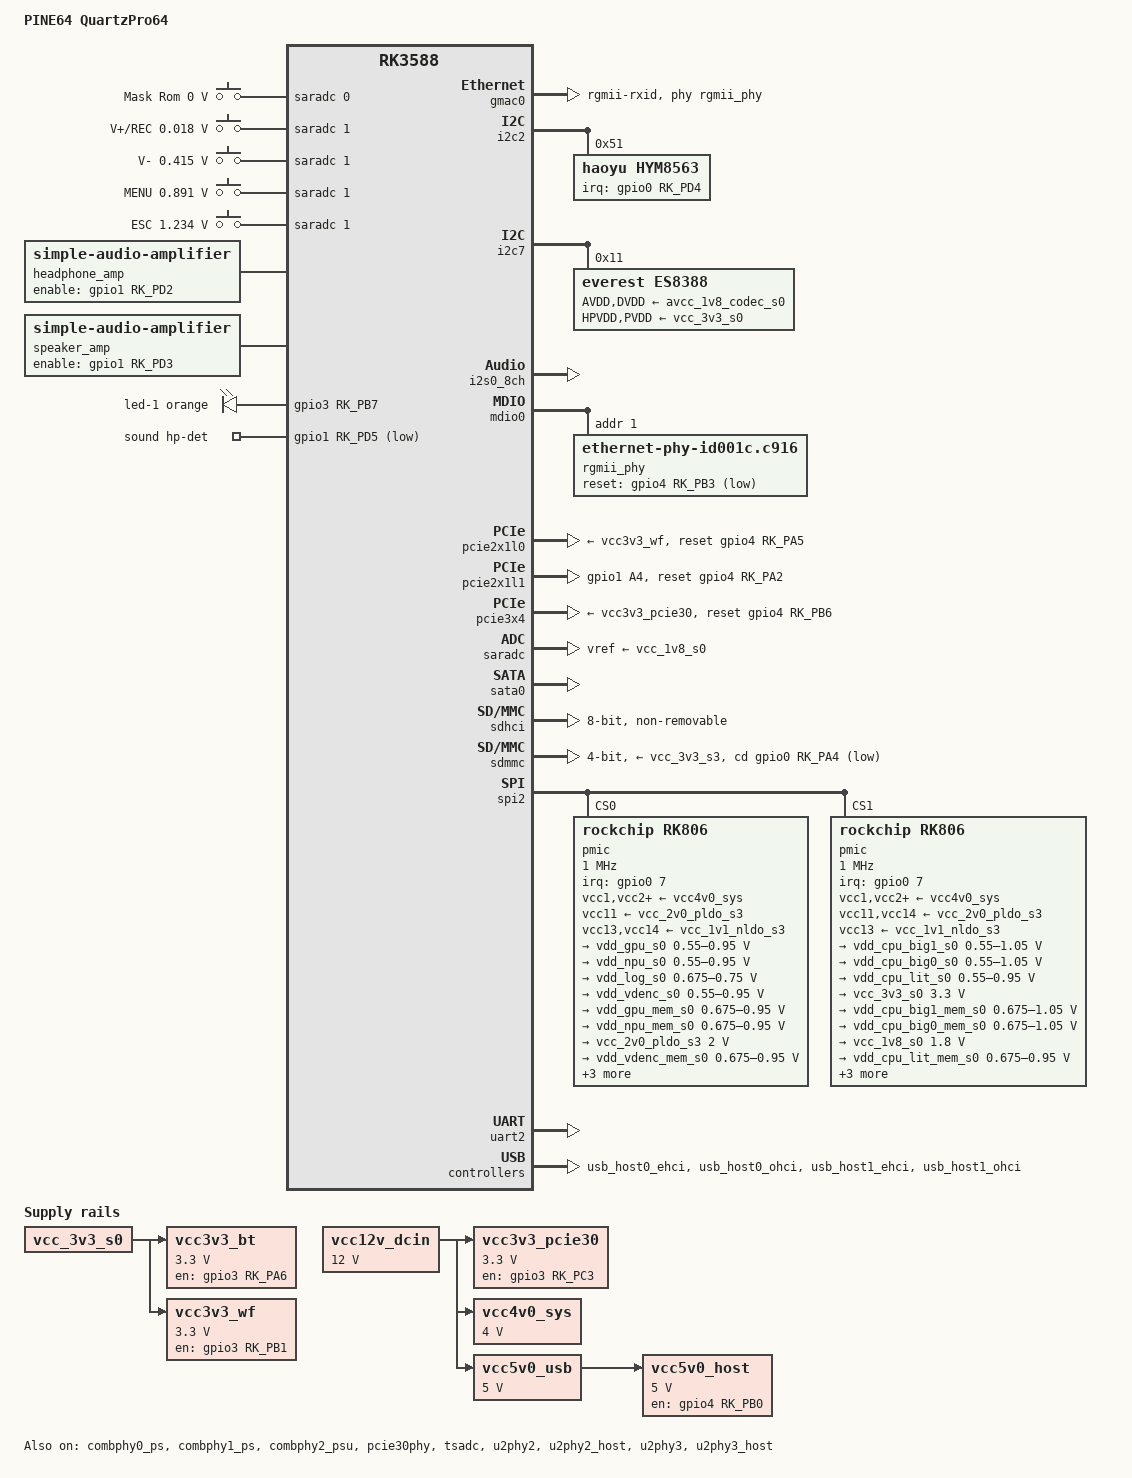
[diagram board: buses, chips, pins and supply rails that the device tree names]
// SPDX-License-Identifier: (GPL-2.0+ OR MIT)
/*
 * Copyright (c) 2023 Ondřej Jirman <megi@xff.cz>
 */

/dts-v1/;

#include <dt-bindings/gpio/gpio.h>
#include <dt-bindings/input/input.h>
#include <dt-bindings/leds/common.h>
#include <dt-bindings/pinctrl/rockchip.h>
#include <dt-bindings/usb/pd.h>
#include "rk3588.dtsi"

/ {
	model = "PINE64 QuartzPro64";
	compatible = "pine64,quartzpro64", "rockchip,rk3588";

	aliases {
		mmc0 = &sdhci;
		mmc1 = &sdmmc;
		serial2 = &uart2;
	};

	chosen {
		stdout-path = "serial2:1500000n8";
	};

	adc-keys-0 {
		compatible = "adc-keys";
		io-channels = <&saradc 0>;
		io-channel-names = "buttons";
		keyup-threshold-microvolt = <1800000>;
		poll-interval = <100>;

		button-maskrom {
			label = "Mask Rom";
			linux,code = <KEY_SETUP>;
			press-threshold-microvolt = <393>;
		};
	};

	adc-keys-1 {
		compatible = "adc-keys";
		io-channels = <&saradc 1>;
		io-channel-names = "buttons";
		keyup-threshold-microvolt = <1800000>;
		poll-interval = <100>;

		button-volume-up {
			label = "V+/REC";
			linux,code = <KEY_VOLUMEUP>;
			press-threshold-microvolt = <17821>;
		};

		button-volume-down {
			label = "V-";
			linux,code = <KEY_VOLUMEDOWN>;
			press-threshold-microvolt = <415384>;
		};

		button-menu {
			label = "MENU";
			linux,code = <KEY_MENU>;
			press-threshold-microvolt = <890909>;
		};

		button-esc {
			label = "ESC";
			linux,code = <KEY_ESC>;
			press-threshold-microvolt = <1233962>;
		};
	};

	headphone_amp: audio-amplifier-headphone {
		compatible = "simple-audio-amplifier";
		enable-gpios = <&gpio1 RK_PD2 GPIO_ACTIVE_HIGH>;
		sound-name-prefix = "Headphones Amp";
	};

	speaker_amp: audio-amplifier-speaker {
		compatible = "simple-audio-amplifier";
		enable-gpios = <&gpio1 RK_PD3 GPIO_ACTIVE_HIGH>;
		sound-name-prefix = "Speaker Amp";
	};

	leds {
		compatible = "gpio-leds";
		pinctrl-names = "default";
		pinctrl-0 = <&led_pins>;

		led-1 {
			color = <LED_COLOR_ID_ORANGE>;
			function = LED_FUNCTION_INDICATOR;
			gpios = <&gpio3 RK_PB7 GPIO_ACTIVE_HIGH>;
		};
	};

	sound {
		compatible = "simple-audio-card";
		pinctrl-names = "default";
		pinctrl-0 = <&hp_detect>;
		simple-audio-card,name = "Analog";
		simple-audio-card,aux-devs = <&speaker_amp>, <&headphone_amp>;
		simple-audio-card,format = "i2s";
		simple-audio-card,mclk-fs = <256>;
		simple-audio-card,hp-det-gpio = <&gpio1 RK_PD5 GPIO_ACTIVE_LOW>;
		simple-audio-card,bitclock-master = <&daicpu>;
		simple-audio-card,frame-master = <&daicpu>;
		/* SARADC_IN3 is used as MIC detection / key input */

		simple-audio-card,widgets =
			"Microphone", "Onboard Microphone",
			"Microphone", "Microphone Jack",
			"Speaker", "Speaker",
			"Headphone", "Headphones";

		simple-audio-card,routing =
			"Headphones", "LOUT1",
			"Headphones", "ROUT1",
			"Speaker", "LOUT2",
			"Speaker", "ROUT2",

			"Headphones", "Headphones Amp OUTL",
			"Headphones", "Headphones Amp OUTR",
			"Headphones Amp INL", "LOUT1",
			"Headphones Amp INR", "ROUT1",

			"Speaker", "Speaker Amp OUTL",
			"Speaker", "Speaker Amp OUTR",
			"Speaker Amp INL", "LOUT2",
			"Speaker Amp INR", "ROUT2",

			/* single ended signal to LINPUT1 */
			"LINPUT1", "Microphone Jack",
			"RINPUT1", "Microphone Jack",
			/* differential signal */
			"LINPUT2", "Onboard Microphone",
			"RINPUT2", "Onboard Microphone";

		daicpu: simple-audio-card,cpu {
			sound-dai = <&i2s0_8ch>;
			system-clock-frequency = <12288000>;
		};

		daicodec: simple-audio-card,codec {
			sound-dai = <&es8388>;
			system-clock-frequency = <12288000>;
		};
	};

	vcc12v_dcin: vcc12v-dcin-regulator {
		compatible = "regulator-fixed";
		regulator-name = "vcc12v_dcin";
		regulator-always-on;
		regulator-boot-on;
		regulator-min-microvolt = <12000000>;
		regulator-max-microvolt = <12000000>;
	};

	vcc3v3_bt: vcc3v3-bt-regulator {
		compatible = "regulator-fixed";
		enable-active-high;
		gpios = <&gpio3 RK_PA6 GPIO_ACTIVE_HIGH>;
		regulator-name = "vcc3v3_bt";
		regulator-min-microvolt = <3300000>;
		regulator-max-microvolt = <3300000>;
		startup-delay-us = <50000>;
		vin-supply = <&vcc_3v3_s0>;
	};

	vcc3v3_pcie30: vcc3v3-pcie30-regulator {
		compatible = "regulator-fixed";
		enable-active-high;
		gpios = <&gpio3 RK_PC3 GPIO_ACTIVE_HIGH>;
		regulator-name = "vcc3v3_pcie30";
		regulator-min-microvolt = <3300000>;
		regulator-max-microvolt = <3300000>;
		startup-delay-us = <5000>;
		vin-supply = <&vcc12v_dcin>;
	};

	vcc3v3_wf: vcc3v3-wf-regulator {
		compatible = "regulator-fixed";
		enable-active-high;
		gpios = <&gpio3 RK_PB1 GPIO_ACTIVE_HIGH>;
		regulator-name = "vcc3v3_wf";
		regulator-min-microvolt = <3300000>;
		regulator-max-microvolt = <3300000>;
		startup-delay-us = <50000>;
		vin-supply = <&vcc_3v3_s0>;
	};

	vcc4v0_sys: vcc4v0-sys-regulator {
		compatible = "regulator-fixed";
		regulator-name = "vcc4v0_sys";
		regulator-always-on;
		regulator-boot-on;
		regulator-min-microvolt = <4000000>;
		regulator-max-microvolt = <4000000>;
		vin-supply = <&vcc12v_dcin>;
	};

	vcc5v0_host: vcc5v0-host-regulator {
		compatible = "regulator-fixed";
		enable-active-high;
		gpio = <&gpio4 RK_PB0 GPIO_ACTIVE_HIGH>;
		pinctrl-names = "default";
		pinctrl-0 = <&vcc5v0_host_en>;
		regulator-name = "vcc5v0_host";
		regulator-always-on;
		regulator-boot-on;
		regulator-min-microvolt = <5000000>;
		regulator-max-microvolt = <5000000>;
		vin-supply = <&vcc5v0_usb>;
	};

	vcc5v0_usb: vcc5v0-usb-regulator {
		compatible = "regulator-fixed";
		regulator-name = "vcc5v0_usb";
		regulator-always-on;
		regulator-boot-on;
		regulator-min-microvolt = <5000000>;
		regulator-max-microvolt = <5000000>;
		vin-supply = <&vcc12v_dcin>;
	};
};

&combphy0_ps {
	status = "okay";
};

&combphy1_ps {
	status = "okay";
};

&combphy2_psu {
	status = "okay";
};

&cpu_b0 {
	cpu-supply = <&vdd_cpu_big0_s0>;
};

&cpu_b1 {
	cpu-supply = <&vdd_cpu_big0_s0>;
};

&cpu_b2 {
	cpu-supply = <&vdd_cpu_big1_s0>;
};

&cpu_b3 {
	cpu-supply = <&vdd_cpu_big1_s0>;
};

&cpu_l0 {
	cpu-supply = <&vdd_cpu_lit_s0>;
};

&cpu_l1 {
	cpu-supply = <&vdd_cpu_lit_s0>;
};

&cpu_l2 {
	cpu-supply = <&vdd_cpu_lit_s0>;
};

&cpu_l3 {
	cpu-supply = <&vdd_cpu_lit_s0>;
};

&gmac0 {
	clock_in_out = "output";
	phy-handle = <&rgmii_phy>;
	phy-mode = "rgmii-rxid";
	pinctrl-names = "default";
	pinctrl-0 = <&gmac0_miim
		     &gmac0_tx_bus2
		     &gmac0_rx_bus2
		     &gmac0_rgmii_clk
		     &gmac0_rgmii_bus>;
	rx_delay = <0x00>;
	tx_delay = <0x43>;
	status = "okay";
};

&i2c2 {
	status = "okay";

	hym8563: rtc@51 {
		compatible = "haoyu,hym8563";
		reg = <0x51>;
		#clock-cells = <0>;
		clock-output-names = "hym8563";
		interrupt-parent = <&gpio0>;
		interrupts = <RK_PD4 IRQ_TYPE_LEVEL_LOW>;
		pinctrl-names = "default";
		pinctrl-0 = <&hym8563_int>;
		wakeup-source;
	};
};

&i2c7 {
	status = "okay";

	es8388: audio-codec@11 {
		compatible = "everest,es8388";
		reg = <0x11>;
		assigned-clocks = <&cru I2S0_8CH_MCLKOUT>;
		assigned-clock-rates = <12288000>;
		clocks = <&cru I2S0_8CH_MCLKOUT>;
		clock-names = "mclk";
		AVDD-supply = <&avcc_1v8_codec_s0>;
		DVDD-supply = <&avcc_1v8_codec_s0>;
		HPVDD-supply = <&vcc_3v3_s0>;
		PVDD-supply = <&vcc_3v3_s0>;
		#sound-dai-cells = <0>;
	};
};

&i2s0_8ch {
	pinctrl-names = "default";
	pinctrl-0 = <&i2s0_lrck
		     &i2s0_mclk
		     &i2s0_sclk
		     &i2s0_sdi0
		     &i2s0_sdo0>;
	status = "okay";
};

&mdio0 {
	rgmii_phy: ethernet-phy@1 {
		/* RTL8211F */
		compatible = "ethernet-phy-id001c.c916";
		reg = <0x1>;
		pinctrl-names = "default";
		pinctrl-0 = <&rtl8211f_rst>;
		reset-assert-us = <20000>;
		reset-deassert-us = <100000>;
		reset-gpios = <&gpio4 RK_PB3 GPIO_ACTIVE_LOW>;
	};
};

&pinctrl {
	hym8563 {
		hym8563_int: hym8563-int {
			rockchip,pins = <0 RK_PD4 RK_FUNC_GPIO &pcfg_pull_up>;
		};
	};

	leds {
		led_pins: led-pins {
			rockchip,pins = <3 RK_PB7 RK_FUNC_GPIO &pcfg_pull_up>;
		};
	};

	rtl8111 {
		rtl8111_isolate: rtl8111-isolate {
			rockchip,pins = <1 RK_PA4 RK_FUNC_GPIO &pcfg_pull_up>;
		};
	};

	rtl8211f {
		rtl8211f_rst: rtl8211f-rst {
			rockchip,pins = <4 RK_PB3 RK_FUNC_GPIO &pcfg_pull_none>;
		};

	};

	sound {
		hp_detect: hp-detect {
			rockchip,pins = <1 RK_PD5 RK_FUNC_GPIO &pcfg_pull_none>;
		};
	};

	usb {
		vcc5v0_host_en: vcc5v0-host-en {
			rockchip,pins = <4 RK_PB0 RK_FUNC_GPIO &pcfg_pull_none>;
		};
	};
};

/* WIFI */
&pcie2x1l0 {
	reset-gpios = <&gpio4 RK_PA5 GPIO_ACTIVE_HIGH>;
	vpcie3v3-supply = <&vcc3v3_wf>;
	status = "okay";
};

/* GMAC1 */
&pcie2x1l1 {
	pinctrl-names = "default";
	pinctrl-0 = <&rtl8111_isolate>;
	reset-gpios = <&gpio4 RK_PA2 GPIO_ACTIVE_HIGH>;
	status = "okay";
};

&pcie30phy {
	status = "okay";
};

&pcie3x4 {
	reset-gpios = <&gpio4 RK_PB6 GPIO_ACTIVE_HIGH>;
	vpcie3v3-supply = <&vcc3v3_pcie30>;
	status = "okay";
};

&saradc {
	vref-supply = <&vcc_1v8_s0>;
	status = "okay";
};

&sata0 {
	status = "okay";
};

&sdhci {
	bus-width = <8>;
	no-sdio;
	no-sd;
	non-removable;
	max-frequency = <150000000>;
	mmc-hs400-1_8v;
	mmc-hs400-enhanced-strobe;
	status = "okay";
};

&sdmmc {
	bus-width = <4>;
	cap-sd-highspeed;
	cd-gpios = <&gpio0 RK_PA4 GPIO_ACTIVE_LOW>;
	disable-wp;
	max-frequency = <150000000>;
	no-sdio;
	no-mmc;
	sd-uhs-sdr104;
	vmmc-supply = <&vcc_3v3_s3>;
	vqmmc-supply = <&vccio_sd_s0>;
	status = "okay";
};

&spi2 {
	assigned-clocks = <&cru CLK_SPI2>;
	assigned-clock-rates = <200000000>;
	num-cs = <2>;
	status = "okay";

	pmic@0 {
		compatible = "rockchip,rk806";
		reg = <0x0>;
		#gpio-cells = <2>;
		gpio-controller;
		interrupt-parent = <&gpio0>;
		interrupts = <7 IRQ_TYPE_LEVEL_LOW>;
		pinctrl-0 = <&pmic_pins>, <&rk806_dvs1_null>,
			    <&rk806_dvs2_null>, <&rk806_dvs3_null>;
		pinctrl-names = "default";
		spi-max-frequency = <1000000>;

		vcc1-supply = <&vcc4v0_sys>;
		vcc2-supply = <&vcc4v0_sys>;
		vcc3-supply = <&vcc4v0_sys>;
		vcc4-supply = <&vcc4v0_sys>;
		vcc5-supply = <&vcc4v0_sys>;
		vcc6-supply = <&vcc4v0_sys>;
		vcc7-supply = <&vcc4v0_sys>;
		vcc8-supply = <&vcc4v0_sys>;
		vcc9-supply = <&vcc4v0_sys>;
		vcc10-supply = <&vcc4v0_sys>;
		vcc11-supply = <&vcc_2v0_pldo_s3>;
		vcc12-supply = <&vcc4v0_sys>;
		vcc13-supply = <&vcc_1v1_nldo_s3>;
		vcc14-supply = <&vcc_1v1_nldo_s3>;
		vcca-supply = <&vcc4v0_sys>;

		rk806_dvs1_null: dvs1-null-pins {
			pins = "gpio_pwrctrl1";
			function = "pin_fun0";
		};

		rk806_dvs2_null: dvs2-null-pins {
			pins = "gpio_pwrctrl2";
			function = "pin_fun0";
		};

		rk806_dvs3_null: dvs3-null-pins {
			pins = "gpio_pwrctrl3";
			function = "pin_fun0";
		};

		regulators {
			vdd_gpu_s0: dcdc-reg1 {
				regulator-name = "vdd_gpu_s0";
				regulator-boot-on;
				regulator-enable-ramp-delay = <400>;
				regulator-min-microvolt = <550000>;
				regulator-max-microvolt = <950000>;
				regulator-ramp-delay = <12500>;

				regulator-state-mem {
					regulator-off-in-suspend;
				};
			};

			vdd_npu_s0: dcdc-reg2 {
				regulator-name = "vdd_npu_s0";
				regulator-always-on;
				regulator-boot-on;
				regulator-min-microvolt = <550000>;
				regulator-max-microvolt = <950000>;
				regulator-ramp-delay = <12500>;

				regulator-state-mem {
					regulator-off-in-suspend;
				};
			};

			vdd_log_s0: dcdc-reg3 {
				regulator-name = "vdd_log_s0";
				regulator-always-on;
				regulator-boot-on;
				regulator-min-microvolt = <675000>;
				regulator-max-microvolt = <750000>;
				regulator-ramp-delay = <12500>;

				regulator-state-mem {
					regulator-off-in-suspend;
					regulator-suspend-microvolt = <750000>;
				};
			};

			vdd_vdenc_s0: dcdc-reg4 {
				regulator-name = "vdd_vdenc_s0";
				regulator-always-on;
				regulator-boot-on;
				regulator-min-microvolt = <550000>;
				regulator-max-microvolt = <950000>;
				regulator-ramp-delay = <12500>;

				regulator-state-mem {
					regulator-off-in-suspend;
				};

			};

			vdd_gpu_mem_s0: dcdc-reg5 {
				regulator-name = "vdd_gpu_mem_s0";
				regulator-boot-on;
				regulator-enable-ramp-delay = <400>;
				regulator-min-microvolt = <675000>;
				regulator-max-microvolt = <950000>;
				regulator-ramp-delay = <12500>;

				regulator-state-mem {
					regulator-off-in-suspend;
				};

			};

			vdd_npu_mem_s0: dcdc-reg6 {
				regulator-name = "vdd_npu_mem_s0";
				regulator-always-on;
				regulator-boot-on;
				regulator-min-microvolt = <675000>;
				regulator-max-microvolt = <950000>;
				regulator-ramp-delay = <12500>;

				regulator-state-mem {
					regulator-off-in-suspend;
				};

			};

			vcc_2v0_pldo_s3: dcdc-reg7 {
				regulator-name = "vdd_2v0_pldo_s3";
				regulator-always-on;
				regulator-boot-on;
				regulator-min-microvolt = <2000000>;
				regulator-max-microvolt = <2000000>;
				regulator-ramp-delay = <12500>;

				regulator-state-mem {
					regulator-on-in-suspend;
					regulator-suspend-microvolt = <2000000>;
				};
			};

			vdd_vdenc_mem_s0: dcdc-reg8 {
				regulator-name = "vdd_vdenc_mem_s0";
				regulator-always-on;
				regulator-boot-on;
				regulator-min-microvolt = <675000>;
				regulator-max-microvolt = <950000>;
				regulator-ramp-delay = <12500>;

				regulator-state-mem {
					regulator-off-in-suspend;
				};
			};

			vdd2_ddr_s3: dcdc-reg9 {
				regulator-name = "vdd2_ddr_s3";
				regulator-always-on;
				regulator-boot-on;

				regulator-state-mem {
					regulator-on-in-suspend;
				};
			};

			vcc_1v1_nldo_s3: dcdc-reg10 {
				regulator-name = "vcc_1v1_nldo_s3";
				regulator-always-on;
				regulator-boot-on;
				regulator-min-microvolt = <1100000>;
				regulator-max-microvolt = <1100000>;
				regulator-ramp-delay = <12500>;

				regulator-state-mem {
					regulator-on-in-suspend;
					regulator-suspend-microvolt = <1100000>;
				};
			};

			avcc_1v8_s0: pldo-reg1 {
				regulator-name = "avcc_1v8_s0";
				regulator-always-on;
				regulator-boot-on;
				regulator-min-microvolt = <1800000>;
				regulator-max-microvolt = <1800000>;
				regulator-ramp-delay = <12500>;

				regulator-state-mem {
					regulator-off-in-suspend;
				};
			};

			vdd1_1v8_ddr_s3: pldo-reg2 {
				regulator-name = "vdd1_1v8_ddr_s3";
				regulator-always-on;
				regulator-boot-on;
				regulator-min-microvolt = <1800000>;
				regulator-max-microvolt = <1800000>;
				regulator-ramp-delay = <12500>;

				regulator-state-mem {
					regulator-on-in-suspend;
					regulator-suspend-microvolt = <1800000>;
				};
			};

			avcc_1v8_codec_s0: pldo-reg3 {
				regulator-name = "avcc_1v8_codec_s0";
				regulator-always-on;
				regulator-boot-on;
				regulator-min-microvolt = <1800000>;
				regulator-max-microvolt = <1800000>;
				regulator-ramp-delay = <12500>;

				regulator-state-mem {
					regulator-off-in-suspend;
				};
			};

			vcc_3v3_s3: pldo-reg4 {
				regulator-name = "vcc_3v3_s3";
				regulator-always-on;
				regulator-boot-on;
				regulator-min-microvolt = <3300000>;
				regulator-max-microvolt = <3300000>;
				regulator-ramp-delay = <12500>;

				regulator-state-mem {
					regulator-on-in-suspend;
					regulator-suspend-microvolt = <3300000>;
				};
			};

			vccio_sd_s0: pldo-reg5 {
				regulator-name = "vccio_sd_s0";
				regulator-always-on;
				regulator-boot-on;
				regulator-min-microvolt = <1800000>;
				regulator-max-microvolt = <3300000>;
				regulator-ramp-delay = <12500>;

				regulator-state-mem {
					regulator-off-in-suspend;
				};
			};

			vcc_1v8_s3: pldo-reg6 {
				regulator-name = "vcc_1v8_s3";
				regulator-always-on;
				regulator-boot-on;
				regulator-min-microvolt = <1800000>;
				regulator-max-microvolt = <1800000>;
				regulator-ramp-delay = <12500>;

				regulator-state-mem {
					regulator-on-in-suspend;
					regulator-suspend-microvolt = <1800000>;
				};
			};

			vdd_0v75_s3: nldo-reg1 {
				regulator-name = "vdd_0v75_s3";
				regulator-always-on;
				regulator-boot-on;
				regulator-min-microvolt = <750000>;
				regulator-max-microvolt = <750000>;
				regulator-ramp-delay = <12500>;

				regulator-state-mem {
					regulator-on-in-suspend;
					regulator-suspend-microvolt = <750000>;
				};
			};

			/* reserved for LPDDR5, unused? */
			vdd2l_0v9_ddr_s3: nldo-reg2 {
				regulator-name = "vdd2l_0v9_ddr_s3";
				regulator-always-on;
				regulator-boot-on;
				regulator-min-microvolt = <900000>;
				regulator-max-microvolt = <900000>;

				regulator-state-mem {
					regulator-on-in-suspend;
					regulator-suspend-microvolt = <900000>;
				};
			};

			vdd_0v75_hdmi_edp_s0: nldo-reg3 {
				regulator-name = "vdd_0v75_hdmi_edp_s0";
				regulator-always-on;
				regulator-boot-on;
				regulator-min-microvolt = <750000>;
				regulator-max-microvolt = <750000>;

				regulator-state-mem {
					regulator-off-in-suspend;
				};
			};

			avdd_0v75_s0: nldo-reg4 {
				regulator-name = "avdd_0v75_s0";
				regulator-always-on;
				regulator-boot-on;
				regulator-min-microvolt = <750000>;
				regulator-max-microvolt = <750000>;

				regulator-state-mem {
					regulator-off-in-suspend;
				};
			};

			vdd_0v85_s0: nldo-reg5 {
				regulator-name = "vdd_0v85_s0";
				regulator-always-on;
				regulator-boot-on;
				regulator-min-microvolt = <850000>;
				regulator-max-microvolt = <850000>;

				regulator-state-mem {
					regulator-off-in-suspend;
				};
			};
		};
	};

	pmic@1 {
		compatible = "rockchip,rk806";
		reg = <0x01>;
		#gpio-cells = <2>;
		gpio-controller;
		interrupt-parent = <&gpio0>;
		interrupts = <7 IRQ_TYPE_LEVEL_LOW>;
		pinctrl-0 = <&rk806_slave_dvs1_null>, <&rk806_slave_dvs2_null>,
			    <&rk806_slave_dvs3_null>;
		pinctrl-names = "default";
		spi-max-frequency = <1000000>;

		vcc1-supply = <&vcc4v0_sys>;
		vcc2-supply = <&vcc4v0_sys>;
		vcc3-supply = <&vcc4v0_sys>;
		vcc4-supply = <&vcc4v0_sys>;
		vcc5-supply = <&vcc4v0_sys>;
		vcc6-supply = <&vcc4v0_sys>;
		vcc7-supply = <&vcc4v0_sys>;
		vcc8-supply = <&vcc4v0_sys>;
		vcc9-supply = <&vcc4v0_sys>;
		vcc10-supply = <&vcc4v0_sys>;
		vcc11-supply = <&vcc_2v0_pldo_s3>;
		vcc12-supply = <&vcc4v0_sys>;
		vcc13-supply = <&vcc_1v1_nldo_s3>;
		vcc14-supply = <&vcc_2v0_pldo_s3>;
		vcca-supply = <&vcc4v0_sys>;

		rk806_slave_dvs1_null: dvs1-null-pins {
			pins = "gpio_pwrctrl1";
			function = "pin_fun0";
		};

		rk806_slave_dvs2_null: dvs2-null-pins {
			pins = "gpio_pwrctrl2";
			function = "pin_fun0";
		};

		rk806_slave_dvs3_null: dvs3-null-pins {
			pins = "gpio_pwrctrl3";
			function = "pin_fun0";
		};

		regulators {
			vdd_cpu_big1_s0: dcdc-reg1 {
				regulator-name = "vdd_cpu_big1_s0";
				regulator-always-on;
				regulator-boot-on;
				regulator-min-microvolt = <550000>;
				regulator-max-microvolt = <1050000>;
				regulator-ramp-delay = <12500>;

				regulator-state-mem {
					regulator-off-in-suspend;
				};
			};

			vdd_cpu_big0_s0: dcdc-reg2 {
				regulator-name = "vdd_cpu_big0_s0";
				regulator-always-on;
				regulator-boot-on;
				regulator-min-microvolt = <550000>;
				regulator-max-microvolt = <1050000>;
				regulator-ramp-delay = <12500>;

				regulator-state-mem {
					regulator-off-in-suspend;
				};
			};

			vdd_cpu_lit_s0: dcdc-reg3 {
				regulator-name = "vdd_cpu_lit_s0";
				regulator-always-on;
				regulator-boot-on;
				regulator-min-microvolt = <550000>;
				regulator-max-microvolt = <950000>;
				regulator-ramp-delay = <12500>;

				regulator-state-mem {
					regulator-off-in-suspend;
				};
			};

			vcc_3v3_s0: dcdc-reg4 {
				regulator-name = "vcc_3v3_s0";
				regulator-always-on;
				regulator-boot-on;
				regulator-min-microvolt = <3300000>;
				regulator-max-microvolt = <3300000>;
				regulator-ramp-delay = <12500>;

				regulator-state-mem {
					regulator-off-in-suspend;
				};
			};

			vdd_cpu_big1_mem_s0: dcdc-reg5 {
				regulator-name = "vdd_cpu_big1_mem_s0";
				regulator-always-on;
				regulator-boot-on;
				regulator-min-microvolt = <675000>;
				regulator-max-microvolt = <1050000>;
				regulator-ramp-delay = <12500>;

				regulator-state-mem {
					regulator-off-in-suspend;
				};
			};


			vdd_cpu_big0_mem_s0: dcdc-reg6 {
				regulator-name = "vdd_cpu_big0_mem_s0";
				regulator-always-on;
				regulator-boot-on;
				regulator-min-microvolt = <675000>;
				regulator-max-microvolt = <1050000>;
				regulator-ramp-delay = <12500>;

				regulator-state-mem {
					regulator-off-in-suspend;
				};
			};

			vcc_1v8_s0: dcdc-reg7 {
				regulator-name = "vcc_1v8_s0";
				regulator-always-on;
				regulator-boot-on;
				regulator-min-microvolt = <1800000>;
				regulator-max-microvolt = <1800000>;
				regulator-ramp-delay = <12500>;

				regulator-state-mem {
					regulator-off-in-suspend;
				};
			};

			vdd_cpu_lit_mem_s0: dcdc-reg8 {
				regulator-name = "vdd_cpu_lit_mem_s0";
				regulator-always-on;
				regulator-boot-on;
				regulator-min-microvolt = <675000>;
				regulator-max-microvolt = <950000>;
				regulator-ramp-delay = <12500>;

				regulator-state-mem {
					regulator-off-in-suspend;
				};
			};

			vddq_ddr_s0: dcdc-reg9 {
				regulator-name = "vddq_ddr_s0";
				regulator-always-on;
				regulator-boot-on;

				regulator-state-mem {
					regulator-off-in-suspend;
				};
			};

			vdd_ddr_s0: dcdc-reg10 {
				regulator-name = "vdd_ddr_s0";
				regulator-always-on;
				regulator-boot-on;
				regulator-min-microvolt = <675000>;
				regulator-max-microvolt = <900000>;
				regulator-ramp-delay = <12500>;

				regulator-state-mem {
					regulator-off-in-suspend;
				};
			};

			/* reserved, unused? */
			vcc_1v8_cam_s0: pldo-reg1 {
				regulator-name = "vcc_1v8_cam_s0";
				regulator-always-on;
				regulator-boot-on;
				regulator-min-microvolt = <1800000>;
				regulator-max-microvolt = <1800000>;
				regulator-ramp-delay = <12500>;

				regulator-state-mem {
					regulator-off-in-suspend;
				};
			};

			avdd1v8_ddr_pll_s0: pldo-reg2 {
				regulator-name = "avdd1v8_ddr_pll_s0";
				regulator-always-on;
				regulator-boot-on;
				regulator-min-microvolt = <1800000>;
				regulator-max-microvolt = <1800000>;
				regulator-ramp-delay = <12500>;

				regulator-state-mem {
					regulator-off-in-suspend;
				};
			};

			vdd_1v8_pll_s0: pldo-reg3 {
				regulator-name = "vdd_1v8_pll_s0";
				regulator-always-on;
				regulator-boot-on;
				regulator-min-microvolt = <1800000>;
				regulator-max-microvolt = <1800000>;
				regulator-ramp-delay = <12500>;

				regulator-state-mem {
					regulator-off-in-suspend;
				};
			};

			/* reserved, unused? */
			vcc_3v3_sd_s0: pldo-reg4 {
				regulator-name = "vcc_3v3_sd_s0";
				regulator-always-on;
				regulator-boot-on;
				regulator-min-microvolt = <3300000>;
				regulator-max-microvolt = <3300000>;
				regulator-ramp-delay = <12500>;

				regulator-state-mem {
					regulator-off-in-suspend;
				};
			};

			/* reserved, unused? */
			vcc_2v8_cam_s0: pldo-reg5 {
				regulator-name = "vcc_2v8_cam_s0";
				regulator-always-on;
				regulator-boot-on;
				regulator-min-microvolt = <2800000>;
				regulator-max-microvolt = <2800000>;
				regulator-ramp-delay = <12500>;

				regulator-state-mem {
					regulator-off-in-suspend;
				};
			};

			/* unused */
			pldo6_s3: pldo-reg6 {
				regulator-name = "pldo6_s3";
				regulator-always-on;
				regulator-boot-on;
				regulator-min-microvolt = <1800000>;
				regulator-max-microvolt = <1800000>;

				regulator-state-mem {
					regulator-on-in-suspend;
					regulator-suspend-microvolt = <1800000>;
				};
			};

			vdd_0v75_pll_s0: nldo-reg1 {
				regulator-name = "vdd_0v75_pll_s0";
				regulator-always-on;
				regulator-boot-on;
				regulator-min-microvolt = <750000>;
				regulator-max-microvolt = <750000>;
				regulator-ramp-delay = <12500>;

				regulator-state-mem {
					regulator-off-in-suspend;
				};
			};

			vdd_ddr_pll_s0: nldo-reg2 {
				regulator-name = "vdd_ddr_pll_s0";
				regulator-always-on;
				regulator-boot-on;
				regulator-min-microvolt = <850000>;
				regulator-max-microvolt = <850000>;

				regulator-state-mem {
					regulator-off-in-suspend;
				};
			};

			avdd_0v85_s0: nldo-reg3 {
				regulator-name = "avdd_0v85_s0";
				regulator-always-on;
				regulator-boot-on;
				regulator-min-microvolt = <850000>;
				regulator-max-microvolt = <850000>;
				regulator-ramp-delay = <12500>;

				regulator-state-mem {
					regulator-off-in-suspend;
				};
			};

			/* reserved, unused */
			avdd_1v2_cam_s0: nldo-reg4 {
				regulator-name = "avdd_1v2_cam_s0";
				regulator-always-on;
				regulator-boot-on;
				regulator-min-microvolt = <1200000>;
				regulator-max-microvolt = <1200000>;
				regulator-ramp-delay = <12500>;

				regulator-state-mem {
					regulator-off-in-suspend;
				};
			};

			avdd_1v2_s0: nldo-reg5 {
				regulator-name = "avdd_1v2_s0";
				regulator-always-on;
				regulator-boot-on;
				regulator-min-microvolt = <1200000>;
				regulator-max-microvolt = <1200000>;
				regulator-ramp-delay = <12500>;

				regulator-state-mem {
					regulator-off-in-suspend;
				};
			};
		};
	};
};

&tsadc {
	status = "okay";
};

&u2phy2 {
	status = "okay";
};

&u2phy2_host {
	phy-supply = <&vcc5v0_host>;
	status = "okay";
};

&u2phy3 {
	status = "okay";
};

&u2phy3_host {
	phy-supply = <&vcc5v0_host>;
	status = "okay";
};

&uart2 {
	pinctrl-names = "default";
	pinctrl-0 = <&uart2m0_xfer>;
	status = "okay";
};

&usb_host0_ehci {
	status = "okay";
};

&usb_host0_ohci {
	status = "okay";
};

&usb_host1_ehci {
	status = "okay";
};

&usb_host1_ohci {
	status = "okay";
};
